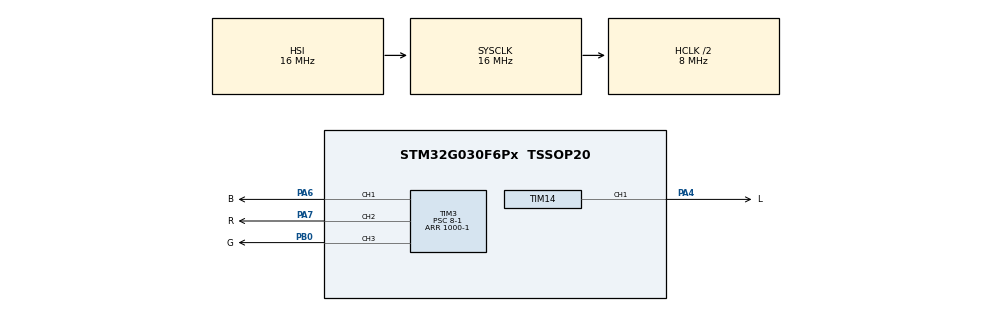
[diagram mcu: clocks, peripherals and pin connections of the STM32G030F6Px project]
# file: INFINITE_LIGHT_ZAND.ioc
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Mcu.Family=STM32G0
Mcu.Name=STM32G030F6Px
Mcu.Package=TSSOP20
PA13.Mode=Serial_Wire
PA13.Signal=SYS_SWDIO
PA14-BOOT0.Mode=Serial_Wire
PA14-BOOT0.Signal=SYS_SWCLK
PA14-BOOT0__PA15.StandardMode=true
PA4.GPIO_Label=L
PA4.Signal=S_TIM14_CH1
PA6.GPIO_Label=B
PA6.Signal=S_TIM3_CH1
PA7.GPIO_Label=R
PA7.Signal=S_TIM3_CH2
PB0.GPIO_Label=G
PB0.Signal=S_TIM3_CH3
PB0__PB1__PB2__PA8.StandardMode=true
PB3__PB4__PB5__PB6.StandardMode=true
PB7__PB8.StandardMode=true
PC14-OSC32_IN\ (PC14)__PB9.StandardMode=true
ProjectManager.HeapSize=0x200
ProjectManager.StackSize=0x400
ProjectManager.TargetToolchain=STM32CubeIDE
RCC.AHBCLKDivider=RCC_SYSCLK_DIV2
RCC.AHBFreq_Value=8000000
RCC.CortexFreq_Value=8000000
RCC.EXTERNAL_CLOCK_VALUE=12288000
RCC.HCLKFreq_Value=8000000
RCC.HSE_VALUE=8000000
RCC.HSI_VALUE=16000000
RCC.LSE_VALUE=32768
RCC.SYSCLKFreq_VALUE=16000000
RCC.VCOOutputFreq_Value=128000000
SH.S_TIM14_CH1.0=TIM14_CH1,PWM Generation1 CH1
SH.S_TIM3_CH1.0=TIM3_CH1,PWM Generation1 CH1
SH.S_TIM3_CH2.0=TIM3_CH2,PWM Generation2 CH2
SH.S_TIM3_CH3.0=TIM3_CH3,PWM Generation3 CH3
TIM14.Channel=TIM_CHANNEL_1
TIM14.Period=1000-1
TIM14.Prescaler=8-1
TIM3.Channel-PWM\ Generation1\ CH1=TIM_CHANNEL_1
TIM3.Channel-PWM\ Generation2\ CH2=TIM_CHANNEL_2
TIM3.Channel-PWM\ Generation3\ CH3=TIM_CHANNEL_3
TIM3.Period=1000-1
TIM3.Prescaler=8-1
VP_TIM14_VS_ClockSourceINT.Mode=Enable_Timer
VP_TIM3_VS_ClockSourceINT.Mode=Internal
board=custom

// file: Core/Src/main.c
/* USER CODE BEGIN Header */
/**
  ******************************************************************************
  * @file           : main.c
  * @brief          : Main program body
  ******************************************************************************
  * @attention
  *
  * Copyright (c) 2024 STMicroelectronics.
  * All rights reserved.
  *
  * This software is licensed under terms that can be found in the LICENSE file
  * in the root directory of this software component.
  * If no LICENSE file comes with this software, it is provided AS-IS.
  *
  ******************************************************************************
  */
/* USER CODE END Header */
#include "main.h"

TIM_HandleTypeDef htim3;
TIM_HandleTypeDef htim14;

/* USER CODE BEGIN PV */
uint16_t duty=0;
uint16_t maxDutyRGB=0;
uint16_t maxDutyLED=0;
/* USER CODE END PV */

void SystemClock_Config(void);
static void MX_GPIO_Init(void);
static void MX_TIM3_Init(void);
static void MX_TIM14_Init(void);
/* USER CODE BEGIN PFP */
void led_B(uint16_t duty);
void led_R(uint16_t duty);
void led_G(uint16_t duty);
void led_L(uint16_t duty);
void fade_R(uint16_t time);
void fade_B(uint16_t time);
void fade_G(uint16_t time);
void fade_L(uint16_t time);

void Fade_Colors(uint8_t R, uint8_t G, uint8_t B,  uint16_t time);
void Rotate_RGB(uint16_t duty, uint16_t veces, uint16_t time);
void Rotate_All(uint16_t duty, uint16_t veces, uint16_t time, uint16_t heart);
void Fade_All(uint16_t time);
void Fade_TwoColor(uint8_t color, uint16_t time);
void Fade_All_TwoColor(uint16_t time);
void Heart(uint8_t veces, uint16_t tiempo);
void Rojos(uint16_t time);
void Rojos_Inverted(uint16_t time);

/* USER CODE END PFP */

int main(void)
{

  /* MCU Configuration--------------------------------------------------------*/

  /* Reset of all peripherals, Initializes the Flash interface and the Systick. */
  HAL_Init();

  /* Configure the system clock */
  SystemClock_Config();

  /* Initialize all configured peripherals */
  MX_GPIO_Init();
  MX_TIM3_Init();
  MX_TIM14_Init();
  /* USER CODE BEGIN 2 */
  HAL_TIM_Base_Start(&htim3);
  HAL_TIM_Base_Start(&htim14);

  HAL_TIM_PWM_Start(&htim3, TIM_CHANNEL_1);
  HAL_TIM_PWM_Start(&htim3, TIM_CHANNEL_2);
  HAL_TIM_PWM_Start(&htim3, TIM_CHANNEL_3);
  maxDutyRGB = htim3.Instance->ARR;

  HAL_TIM_PWM_Start(&htim14, TIM_CHANNEL_1);
  maxDutyLED = htim14.Instance->ARR;

  /* USER CODE END 2 */

  /* Infinite loop */
  /* USER CODE BEGIN WHILE */
  while (1)
  {
	  Fade_All_TwoColor(1);//25seg
	  for(uint16_t i=5 ; i<=25 ; i+=1){Rotate_RGB(999, 8, i);}//13seg
	  for(uint16_t i=25; i<=50 ; i+=1){Rotate_RGB(999, 2, i);}//6seg
	  Heart(3,2);
	  Fade_All(1);//25seg
	  for(uint16_t i=50; i<=100; i+=1){Rotate_RGB(999, 1, i);}//12seg
	  Rojos_Inverted(3);
	  Rojos(3);
	  for(uint16_t i=400; i<=1200; i+=400){Rotate_All(999, 1, i,250);}//20seg*/

    /* USER CODE END WHILE */

  }
}

void SystemClock_Config(void)
{
  RCC_OscInitTypeDef RCC_OscInitStruct = {0};
  RCC_ClkInitTypeDef RCC_ClkInitStruct = {0};

  /** Configure the main internal regulator output voltage
  */
  HAL_PWREx_ControlVoltageScaling(PWR_REGULATOR_VOLTAGE_SCALE1);

  /** Initializes the RCC Oscillators according to the specified parameters
  * in the RCC_OscInitTypeDef structure.
  */
  RCC_OscInitStruct.OscillatorType = RCC_OSCILLATORTYPE_HSI;
  RCC_OscInitStruct.HSIState = RCC_HSI_ON;
  RCC_OscInitStruct.HSIDiv = RCC_HSI_DIV1;
  RCC_OscInitStruct.HSICalibrationValue = RCC_HSICALIBRATION_DEFAULT;
  RCC_OscInitStruct.PLL.PLLState = RCC_PLL_NONE;
  if (HAL_RCC_OscConfig(&RCC_OscInitStruct) != HAL_OK)
  {
    Error_Handler();
  }

  /** Initializes the CPU, AHB and APB buses clocks
  */
  RCC_ClkInitStruct.ClockType = RCC_CLOCKTYPE_HCLK|RCC_CLOCKTYPE_SYSCLK
                              |RCC_CLOCKTYPE_PCLK1;
  RCC_ClkInitStruct.SYSCLKSource = RCC_SYSCLKSOURCE_HSI;
  RCC_ClkInitStruct.AHBCLKDivider = RCC_SYSCLK_DIV2;
  RCC_ClkInitStruct.APB1CLKDivider = RCC_HCLK_DIV1;

  if (HAL_RCC_ClockConfig(&RCC_ClkInitStruct, FLASH_LATENCY_0) != HAL_OK)
  {
    Error_Handler();
  }
}

static void MX_TIM3_Init(void)
{

  TIM_ClockConfigTypeDef sClockSourceConfig = {0};
  TIM_MasterConfigTypeDef sMasterConfig = {0};
  TIM_OC_InitTypeDef sConfigOC = {0};

  htim3.Instance = TIM3;
  htim3.Init.Prescaler = 8-1;
  htim3.Init.CounterMode = TIM_COUNTERMODE_UP;
  htim3.Init.Period = 1000-1;
  htim3.Init.ClockDivision = TIM_CLOCKDIVISION_DIV1;
  htim3.Init.AutoReloadPreload = TIM_AUTORELOAD_PRELOAD_DISABLE;
  if (HAL_TIM_Base_Init(&htim3) != HAL_OK)
  {
    Error_Handler();
  }
  sClockSourceConfig.ClockSource = TIM_CLOCKSOURCE_INTERNAL;
  if (HAL_TIM_ConfigClockSource(&htim3, &sClockSourceConfig) != HAL_OK)
  {
    Error_Handler();
  }
  if (HAL_TIM_PWM_Init(&htim3) != HAL_OK)
  {
    Error_Handler();
  }
  sMasterConfig.MasterOutputTrigger = TIM_TRGO_RESET;
  sMasterConfig.MasterSlaveMode = TIM_MASTERSLAVEMODE_DISABLE;
  if (HAL_TIMEx_MasterConfigSynchronization(&htim3, &sMasterConfig) != HAL_OK)
  {
    Error_Handler();
  }
  sConfigOC.OCMode = TIM_OCMODE_PWM1;
  sConfigOC.Pulse = 0;
  sConfigOC.OCPolarity = TIM_OCPOLARITY_HIGH;
  sConfigOC.OCFastMode = TIM_OCFAST_DISABLE;
  if (HAL_TIM_PWM_ConfigChannel(&htim3, &sConfigOC, TIM_CHANNEL_1) != HAL_OK)
  {
    Error_Handler();
  }
  if (HAL_TIM_PWM_ConfigChannel(&htim3, &sConfigOC, TIM_CHANNEL_2) != HAL_OK)
  {
    Error_Handler();
  }
  if (HAL_TIM_PWM_ConfigChannel(&htim3, &sConfigOC, TIM_CHANNEL_3) != HAL_OK)
  {
    Error_Handler();
  }
  HAL_TIM_MspPostInit(&htim3);

}

static void MX_TIM14_Init(void)
{

  TIM_OC_InitTypeDef sConfigOC = {0};

  htim14.Instance = TIM14;
  htim14.Init.Prescaler = 8-1;
  htim14.Init.CounterMode = TIM_COUNTERMODE_UP;
  htim14.Init.Period = 1000-1;
  htim14.Init.ClockDivision = TIM_CLOCKDIVISION_DIV1;
  htim14.Init.AutoReloadPreload = TIM_AUTORELOAD_PRELOAD_DISABLE;
  if (HAL_TIM_Base_Init(&htim14) != HAL_OK)
  {
    Error_Handler();
  }
  if (HAL_TIM_PWM_Init(&htim14) != HAL_OK)
  {
    Error_Handler();
  }
  sConfigOC.OCMode = TIM_OCMODE_PWM1;
  sConfigOC.Pulse = 0;
  sConfigOC.OCPolarity = TIM_OCPOLARITY_HIGH;
  sConfigOC.OCFastMode = TIM_OCFAST_DISABLE;
  if (HAL_TIM_PWM_ConfigChannel(&htim14, &sConfigOC, TIM_CHANNEL_1) != HAL_OK)
  {
    Error_Handler();
  }
  HAL_TIM_MspPostInit(&htim14);

}

static void MX_GPIO_Init(void)
{

  /* GPIO Ports Clock Enable */
  __HAL_RCC_GPIOA_CLK_ENABLE();
  __HAL_RCC_GPIOB_CLK_ENABLE();

}

/* USER CODE BEGIN 4 */
void led_B(uint16_t duty){
	htim3.Instance->CCR1 = duty;
}

void led_R(uint16_t duty){
	htim3.Instance->CCR2 = duty;
}

void led_G(uint16_t duty){
	htim3.Instance->CCR3 = duty;
}

void led_L(uint16_t duty){
	htim14.Instance->CCR1 = duty;
}

void fade_R(uint16_t time){
	for(uint16_t i = 0; i < maxDutyRGB; i++){led_R(i);HAL_Delay(time);}
    for(uint16_t i = maxDutyRGB; i > 0; i--){led_R(i);HAL_Delay(time);}
}

void fade_B(uint16_t time){
	for(uint16_t i = 0; i < maxDutyRGB; i++){led_B(i);HAL_Delay(time);}
    for(uint16_t i = maxDutyRGB; i > 0; i--){led_B(i);HAL_Delay(time);}
}

void fade_G(uint16_t time){
	for(uint16_t i = 0; i < maxDutyRGB; i++){led_G(i);HAL_Delay(time);}
    for(uint16_t i = maxDutyRGB; i > 0; i--){led_G(i);HAL_Delay(time);}
}

void fade_L(uint16_t time){
	for(uint16_t i = 0; i < maxDutyLED; i++){led_L(i);HAL_Delay(time);}
    for(uint16_t i = maxDutyLED; i > 0; i--){led_L(i);HAL_Delay(time);}
}

void Fade_Colors(uint8_t R, uint8_t G, uint8_t B,  uint16_t time){
	for(uint16_t i = 0; i < maxDutyRGB; i++){
		if(R) led_R(i);
		if(G) led_G(i);
		if(B) led_B(i);
		HAL_Delay(time);
	}
    for(uint16_t i = maxDutyRGB; i > 0; i--){
		if(R) led_R(i);
		if(G) led_G(i);
		if(B) led_B(i);
		HAL_Delay(time);
    }
    led_R(0);led_B(0);led_G(0);//apago todo
}

void Rotate_RGB(uint16_t duty, uint16_t veces, uint16_t time){
	 for(uint16_t i = 0; i < veces; i++){
		led_R(duty);led_B(0)   ;led_G(0)   ;HAL_Delay(time);
		led_R(0)   ;led_B(duty);led_G(0)   ;HAL_Delay(time);
		led_R(0)   ;led_B(0)   ;led_G(duty);HAL_Delay(time);
	 }
	 led_R(0);led_B(0);led_G(0);//apago todo

}

void Rotate_All(uint16_t duty, uint16_t veces, uint16_t time, uint16_t heart){
	 for(uint16_t i = 0; i < veces; i++){
		led_R(duty);led_B(0)   ;led_G(0)   ; led_L(heart);HAL_Delay(time);//Rojo
		led_R(0)   ;led_B(duty);led_G(0)   ; led_L(0)    ;HAL_Delay(time);//Azul
		led_R(0)   ;led_B(0)   ;led_G(duty); led_L(0)    ;HAL_Delay(time);//Verde
		led_R(duty);led_B(duty);led_G(0)   ; led_L(0)    ;HAL_Delay(time);//Violeta
		led_R(0)   ;led_B(duty);led_G(duty); led_L(0)    ;HAL_Delay(time);//Celeste
		led_R(duty);led_B(0)   ;led_G(duty); led_L(0)    ;HAL_Delay(time);//Amarillo
		led_R(duty);led_B(duty);led_G(duty); led_L(0)    ;HAL_Delay(time);//Blanco
	 }
	 led_R(0);led_B(0);led_G(0);led_L(0);//apago todo
}

void Fade_All(uint16_t time){
    Fade_Colors(1,0,0,time);
	Fade_Colors(0,0,1,time);
	Fade_Colors(0,1,0,time);
    Fade_Colors(1,0,1,time);
	Fade_Colors(0,1,1,time);
	Fade_Colors(1,1,0,time);
	Fade_Colors(1,1,1,time);
}

void Fade_TwoColor(uint8_t color, uint16_t time){
	maxDutyRGB = maxDutyRGB - 1;

	switch(color){
		case 1: for(uint16_t i = 0; i < maxDutyRGB; i++){led_G(maxDutyRGB-i);led_B(i);HAL_Delay(time);}
				for(uint16_t i = maxDutyRGB; i > 0; i--){led_G(maxDutyRGB-i);led_B(i);HAL_Delay(time);}
			break;

		case 2: for(uint16_t i = 0; i < maxDutyRGB; i++){led_G(maxDutyRGB-i);led_R(i);HAL_Delay(time);}
				for(uint16_t i = maxDutyRGB; i > 0; i--){led_G(maxDutyRGB-i);led_R(i);HAL_Delay(time);}
				for(uint16_t i = 0; i < maxDutyRGB; i++){led_G(maxDutyRGB-i);led_R(i);HAL_Delay(time);}
			break;
		case 3: for(uint16_t i = 0; i < maxDutyRGB; i++){led_R(maxDutyRGB-i);led_G(i);HAL_Delay(time);}
				for(uint16_t i = maxDutyRGB; i > 0; i--){led_R(maxDutyRGB-i);led_G(i);HAL_Delay(time);}
			break;

		case 4: for(uint16_t i = 0; i < maxDutyRGB; i++){led_R(maxDutyRGB-i);led_B(i);HAL_Delay(time);}
				for(uint16_t i = maxDutyRGB; i > 0; i--){led_R(maxDutyRGB-i);led_B(i);HAL_Delay(time);}
				for(uint16_t i = 0; i < maxDutyRGB; i++){led_R(maxDutyRGB-i);led_B(i);HAL_Delay(time);}
		    break;

		case 5: for(uint16_t i = 0; i < maxDutyRGB; i++){led_B(maxDutyRGB-i);led_R(i);HAL_Delay(time);}
				for(uint16_t i = maxDutyRGB; i > 0; i--){led_B(maxDutyRGB-i);led_R(i);HAL_Delay(time);}
				for(uint16_t i = 0; i < maxDutyRGB; i++){led_B(maxDutyRGB-i);led_G(i);HAL_Delay(time);}
			break;

	}
    led_R(0);led_B(0);led_G(0);led_L(0);//apago todo
}

void Fade_All_TwoColor(uint16_t time){
	Fade_TwoColor(1,time);
	Fade_TwoColor(2,time);
	Fade_TwoColor(3,time);
	Fade_TwoColor(4,time);
	Fade_TwoColor(5,time);
}

void Heart(uint8_t veces, uint16_t tiempo){
	for(uint8_t i=0; i<veces; i++){
		fade_L(tiempo);
	}
	led_L(0);
}

void Rojos_Inverted(uint16_t time){
	maxDutyRGB = maxDutyRGB - 1;

	for(uint16_t i = 0; i < maxDutyRGB; i++){led_L(maxDutyRGB-i);led_R(i);HAL_Delay(time);}
	for(uint16_t i = maxDutyRGB; i > 0; i--){led_L(maxDutyRGB-i);led_R(i);HAL_Delay(time);}

	led_R(0);led_B(0);led_G(0);led_L(0);//apago todo

}

void Rojos(uint16_t time){
	maxDutyRGB = maxDutyRGB - 1;

	for(uint16_t i = 0; i < maxDutyRGB; i++){led_L(i);led_R(i);HAL_Delay(time);}
	for(uint16_t i = maxDutyRGB; i > 0; i--){led_L(i);led_R(i);HAL_Delay(time);}

	led_R(0);led_B(0);led_G(0);led_L(0);//apago todo

}
/* USER CODE END 4 */

void Error_Handler(void)
{
  __disable_irq();
  while (1)
  {
  }
}
